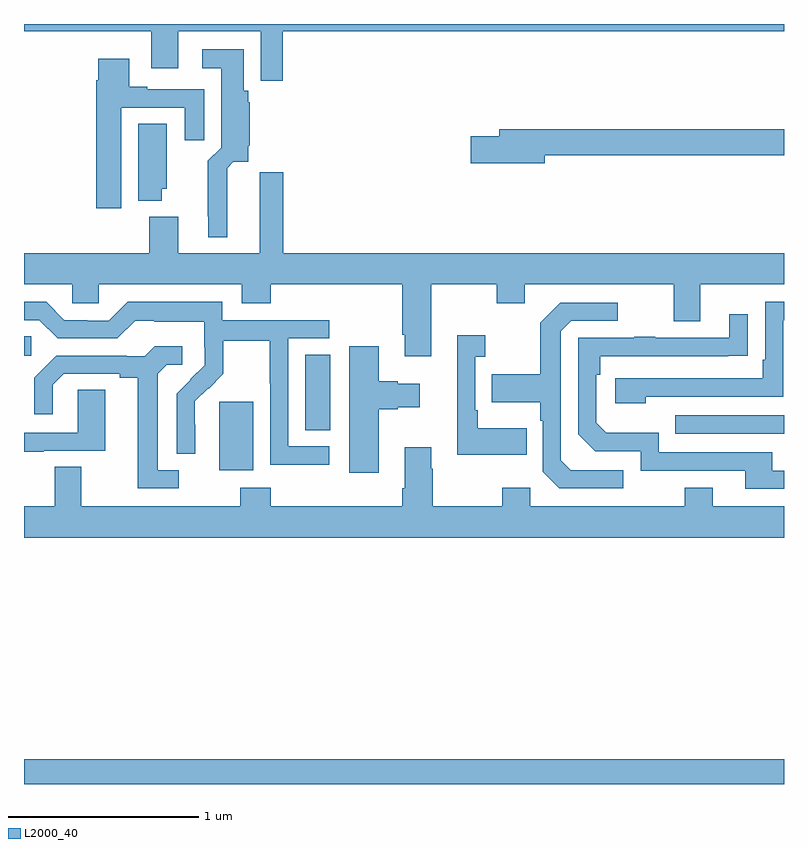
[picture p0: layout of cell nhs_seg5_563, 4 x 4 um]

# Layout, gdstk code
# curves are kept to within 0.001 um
import gdstk
lib = gdstk.Library(unit=1e-6, precision=1e-09)
def R(c, l, rs):  # rectangles x0, y0, x1, y1
    for r in rs: c.add(gdstk.rectangle(r[:2], r[2:], *l))
def P(c, l, *ps):  # polygons
    for p in ps: c.add(gdstk.Polygon(p, *l))
L2000_40 = (2000, 40)

nhs_seg5_563 = lib.new_cell('nhs_seg5_563')
R(nhs_seg5_563, L2000_40, [(147,852.799,151,852.928), (148.028,854.45,148.207,854.811), (150.427,854.643,151,854.739), (148.481,854.662,148.612,855.059), (147,855.054,147.037,855.155)])
P(nhs_seg5_563, L2000_40, [(148.361,856.76),(151,856.76),(151,856.799),(147,856.799),(147,856.76),(147.671,856.76),(147.671,856.566),(147.811,856.566),(147.811,856.76),(148.245,856.76),(148.245,856.5),(148.361,856.5)],
  [(148.069,856.04),(148.101,856.073),(148.181,856.073),(148.181,856.154),(148.187,856.16),(148.187,856.386),(148.181,856.386),(148.181,856.449),(148.156,856.449),(148.156,856.666),(147.939,856.666),(147.939,856.565),(148.037,856.565),(148.037,856.148),(147.967,856.078),(147.967,855.787),(147.971,855.787),(147.971,855.677),(148.069,855.677)],
  [(147.511,856.359),(147.845,856.359),(147.845,856.188),(147.949,856.188),(147.949,856.455),(147.649,856.455),(147.649,856.468),(147.553,856.468),(147.553,856.615),(147.392,856.615),(147.392,856.502),(147.38,856.502),(147.38,855.828),(147.511,855.828)],
  [(147.724,855.933),(147.751,855.933),(147.751,856.274),(147.602,856.274),(147.602,855.869),(147.724,855.869)],
  [(149.74,856.108),(151,856.108),(151,856.244),(149.501,856.244),(149.501,856.208),(149.352,856.208),(149.352,856.066),(149.74,856.066)],
  [(149.143,855.428),(149.488,855.428),(149.488,855.329),(149.635,855.329),(149.635,855.428),(150.419,855.428),(150.419,855.234),(150.559,855.234),(150.559,855.428),(151,855.428),(151,855.592),(148.364,855.592),(148.364,856.018),(148.241,856.018),(148.241,855.592),(147.811,855.592),(147.811,855.784),(147.659,855.784),(147.659,855.592),(147,855.592),(147,855.428),(147.255,855.428),(147.255,855.33),(147.393,855.33),(147.393,855.428),(148.145,855.428),(148.145,855.329),(148.298,855.329),(148.298,855.428),(148.991,855.428),(148.991,855.163),(149.003,855.163),(149.003,855.051),(149.143,855.051)],
  [(148.606,854.577),(148.392,854.577),(148.392,855.144),(148.606,855.144),(148.606,855.24),(148.044,855.24),(148.044,855.337),(147.547,855.337),(147.447,855.237),(147.332,855.237),(147.332,855.24),(147.213,855.24),(147.117,855.336),(147,855.336),(147,855.24),(147.081,855.24),(147.177,855.144),(147.492,855.144),(147.585,855.237),(147.685,855.237),(147.685,855.233),(147.948,855.233),(147.948,855.099),(147.95,855.099),(147.95,855.002),(147.804,854.854),(147.804,854.536),(147.9,854.536),(147.899,854.813),(147.969,854.883),(147.972,854.88),(148.049,854.957),(148.049,855.132),(148.294,855.132),(148.294,854.908),(148.296,854.908),(148.296,854.479),(148.606,854.479)],
  [(150.272,854.838),(150.996,854.838),(150.996,855.24),(151,855.24),(151,855.336),(150.9,855.336),(150.9,855.031),(150.887,855.031),(150.887,854.934),(150.111,854.934),(150.111,854.804),(150.272,854.804)],
  [(150.154,854.451),(149.877,854.451),(149.826,854.502),(149.826,855.183),(149.88,855.237),(150.124,855.237),(150.124,855.333),(149.823,855.333),(149.718,855.227),(149.718,854.955),(149.461,854.955),(149.461,854.807),(149.718,854.807),(149.718,854.711),(149.73,854.711),(149.73,854.442),(149.817,854.355),(150.154,854.355)],
  [(151,854.448),(150.937,854.448),(150.937,854.544),(150.342,854.544),(150.342,854.647),(150.065,854.647),(150.012,854.7),(150.012,854.954),(150.032,854.954),(150.032,855.051),(150.809,855.052),(150.809,855.271),(150.713,855.271),(150.713,855.147),(150.323,855.147),(150.323,855.152),(150.211,855.152),(150.211,855.147),(149.916,855.147),(149.916,854.64),(150.006,854.55),(150.246,854.55),(150.246,854.448),(150.797,854.448),(150.797,854.352),(151,854.352)],
  [(149.645,854.671),(149.389,854.671),(149.389,854.767),(149.376,854.767),(149.376,855.047),(149.428,855.047),(149.428,855.16),(149.279,855.16),(149.279,854.531),(149.645,854.531)],
  [(147.814,854.451),(147.703,854.451),(147.703,854.959),(147.75,855.006),(147.832,855.006),(147.832,855.103),(147.688,855.103),(147.636,855.051),(147.542,855.051),(147.542,855.054),(147.17,855.054),(147.054,854.938),(147.054,854.745),(147.151,854.745),(147.151,854.901),(147.208,854.958),(147.503,854.958),(147.503,854.936),(147.599,854.936),(147.599,854.355),(147.814,854.355)],
  [(148.867,854.771),(148.967,854.771),(148.967,854.783),(149.083,854.783),(149.083,854.905),(148.967,854.905),(148.967,854.918),(148.867,854.918),(148.867,855.103),(148.712,855.103),(148.712,854.436),(148.867,854.436)],
  [(147.103,854.553),(147.427,854.553),(147.427,854.873),(147.282,854.873),(147.282,854.649),(147,854.649),(147,854.549),(147.103,854.549)],
  [(151,854.26),(150.625,854.26),(150.625,854.359),(150.478,854.359),(150.478,854.26),(149.664,854.26),(149.664,854.359),(149.518,854.359),(149.518,854.26),(149.151,854.26),(149.151,854.459),(149.143,854.459),(149.143,854.572),(149.003,854.572),(149.003,854.356),(148.991,854.356),(148.991,854.26),(148.298,854.26),(148.298,854.359),(148.138,854.359),(148.138,854.26),(147.301,854.26),(147.301,854.468),(147.161,854.468),(147.161,854.26),(147,854.26),(147,854.096),(151,854.096)])

lib.write_gds('nhs_seg5_563.gds')
